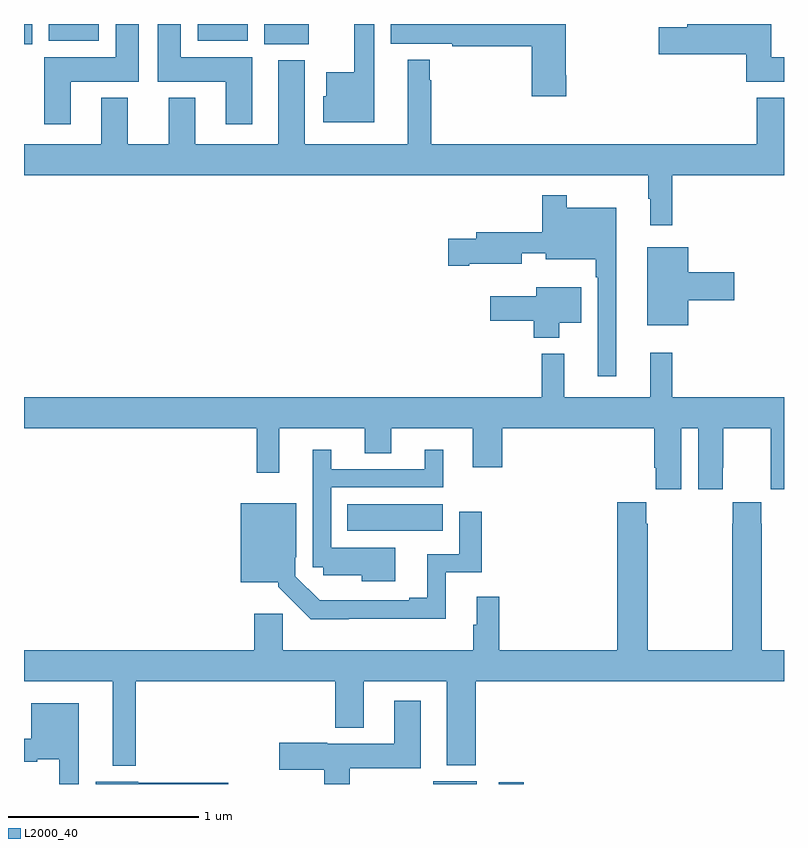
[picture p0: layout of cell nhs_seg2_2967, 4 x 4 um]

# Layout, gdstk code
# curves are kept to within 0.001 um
import gdstk
lib = gdstk.Library(unit=1e-6, precision=1e-09)
def R(c, l, rs):  # rectangles x0, y0, x1, y1
    for r in rs: c.add(gdstk.rectangle(r[:2], r[2:], *l))
def P(c, l, *ps):  # polygons
    for p in ps: c.add(gdstk.Polygon(p, *l))
L2000_40 = (2000, 40)

nhs_seg2_2967 = lib.new_cell('nhs_seg2_2967')
R(nhs_seg2_2967, L2000_40, [(269.153,609.8,269.382,609.814), (269.499,609.8,269.629,609.809), (268.702,611.132,269.203,611.272), (267,613.694,267.043,613.8), (268.265,613.694,268.498,613.8), (267.131,613.712,267.394,613.8), (267.914,613.712,268.177,613.8)])
P(nhs_seg2_2967, L2000_40, [(267.247,613.496),(267.604,613.496),(267.604,613.8),(267.482,613.8),(267.482,613.624),(267.107,613.624),(267.107,613.272),(267.247,613.272)],
  [(268.201,613.624),(267.826,613.624),(267.826,613.8),(267.704,613.8),(267.704,613.496),(268.061,613.496),(268.061,613.272),(268.201,613.272)],
  [(269.855,613.531),(269.85,613.531),(269.85,613.8),(268.931,613.8),(268.931,613.697),(269.254,613.697),(269.254,613.684),(269.672,613.684),(269.672,613.419),(269.855,613.419)],
  [(271,613.624),(270.934,613.624),(270.934,613.8),(270.491,613.8),(270.491,613.784),(270.342,613.784),(270.342,613.642),(270.8,613.642),(270.8,613.496),(271,613.496)],
  [(268.843,613.8),(268.739,613.8),(268.739,613.546),(268.592,613.546),(268.592,613.419),(268.574,613.419),(268.574,613.283),(268.843,613.283)],
  [(270.413,613.004),(271,613.004),(271,613.411),(270.857,613.411),(270.857,613.168),(269.143,613.168),(269.143,613.505),(269.136,613.505),(269.136,613.612),(269.021,613.612),(269.021,613.168),(268.477,613.168),(268.477,613.609),(268.337,613.609),(268.337,613.168),(267.901,613.168),(267.901,613.411),(267.761,613.411),(267.761,613.168),(267.547,613.168),(267.547,613.411),(267.407,613.411),(267.407,613.168),(267,613.168),(267,613.004),(270.285,613.004),(270.285,612.881),(270.296,612.881),(270.296,612.741),(270.413,612.741)],
  [(270.118,612.832),(269.857,612.832),(269.857,612.898),(269.728,612.898),(269.728,612.703),(269.381,612.703),(269.381,612.669),(269.232,612.669),(269.232,612.527),(269.344,612.527),(269.344,612.539),(269.62,612.539),(269.62,612.593),(269.747,612.593),(269.747,612.563),(270.009,612.563),(270.009,612.467),(270.021,612.467),(270.021,611.946),(270.118,611.946)],
  [(270.496,612.347),(270.739,612.347),(270.739,612.494),(270.496,612.494),(270.496,612.625),(270.281,612.625),(270.281,612.215),(270.496,612.215)],
  [(269.818,612.227),(269.932,612.227),(269.932,612.415),(269.696,612.415),(269.696,612.367),(269.454,612.367),(269.454,612.238),(269.684,612.238),(269.684,612.149),(269.818,612.149)],
  [(270.46,611.672),(270.548,611.672),(270.548,611.352),(270.678,611.352),(270.678,611.464),(270.679,611.464),(270.679,611.672),(270.929,611.672),(270.929,611.464),(270.93,611.464),(270.93,611.352),(271,611.352),(271,611.836),(270.413,611.836),(270.413,612.07),(270.296,612.07),(270.296,611.836),(269.843,611.836),(269.843,612.064),(269.725,612.064),(269.725,611.836),(267,611.836),(267,611.672),(268.225,611.672),(268.225,611.439),(268.343,611.439),(268.343,611.672),(268.793,611.672),(268.793,611.542),(268.933,611.542),(268.933,611.672),(269.363,611.672),(269.363,611.466),(269.516,611.466),(269.516,611.672),(270.317,611.672),(270.317,611.464),(270.326,611.464),(270.326,611.352),(270.46,611.352)],
  [(268.954,611.044),(268.617,611.044),(268.617,611.361),(269.206,611.361),(269.206,611.56),(269.108,611.56),(269.108,611.457),(268.618,611.457),(268.618,611.56),(268.521,611.56),(268.521,610.941),(268.575,610.941),(268.575,610.898),(268.778,610.898),(268.778,610.868),(268.954,610.868)],
  [(267.589,610.34),(268.637,610.34),(268.637,610.097),(268.789,610.097),(268.789,610.34),(269.225,610.34),(269.225,609.899),(269.378,609.899),(269.378,610.34),(271,610.34),(271,610.504),(270.882,610.504),(270.882,611.171),(270.879,611.171),(270.879,611.284),(270.729,611.284),(270.729,611.171),(270.727,611.171),(270.727,610.504),(270.282,610.504),(270.282,611.171),(270.275,611.171),(270.275,611.284),(270.122,611.284),(270.122,610.504),(269.501,610.504),(269.501,610.786),(269.384,610.786),(269.384,610.637),(269.365,610.637),(269.365,610.504),(268.361,610.504),(268.361,610.695),(268.211,610.695),(268.211,610.504),(267,610.504),(267,610.34),(267.467,610.34),(267.467,609.896),(267.589,609.896)],
  [(268.709,610.67),(269.221,610.67),(269.221,610.914),(269.408,610.914),(269.408,611.233),(269.292,611.233),(269.292,611.01),(269.123,611.01),(269.123,610.78),(269.027,610.78),(269.027,610.767),(268.556,610.766),(268.428,610.893),(268.428,610.993),(268.432,610.993),(268.432,611.278),(268.142,611.278),(268.142,610.862),(268.338,610.862),(268.338,610.839),(268.51,610.668),(268.709,610.668)],
  [(268.714,609.884),(269.089,609.884),(269.089,610.237),(268.949,610.237),(268.949,610.012),(268.596,610.012),(268.596,610.017),(268.344,610.017),(268.344,609.875),(268.58,609.875),(268.58,609.8),(268.714,609.8)],
  [(267.289,610.225),(267.038,610.225),(267.038,610.039),(267,610.039),(267,609.917),(267.071,609.917),(267.071,609.929),(267.185,609.929),(267.185,609.8),(267.289,609.8)],
  [(268.075,609.806),(267.6,609.806),(267.6,609.811),(267.377,609.811),(267.377,609.8),(268.075,609.8)])

lib.write_gds('nhs_seg2_2967.gds')
